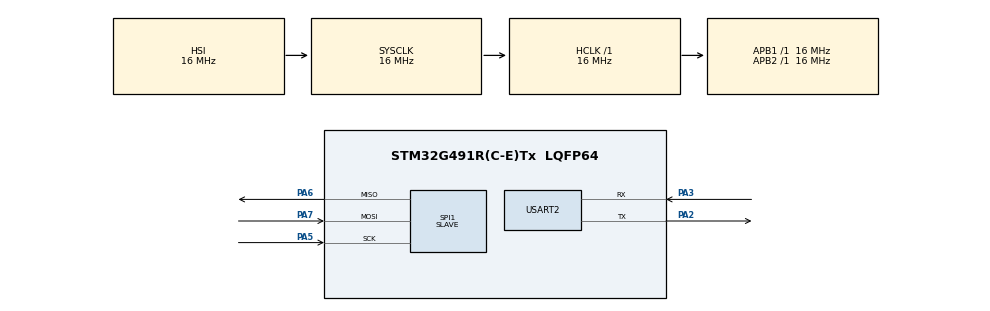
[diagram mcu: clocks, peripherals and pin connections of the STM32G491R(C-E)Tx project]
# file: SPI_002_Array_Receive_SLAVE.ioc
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Mcu.Family=STM32G4
Mcu.Name=STM32G491R(C-E)Tx
Mcu.Package=LQFP64
NVIC.PriorityGroup=NVIC_PRIORITYGROUP_4
NVIC.SPI1_IRQn=true\:0\:0\:false\:false\:true\:true\:true\:true
PA2.Mode=Asynchronous
PA2.Signal=USART2_TX
PA3.Mode=Asynchronous
PA3.Signal=USART2_RX
PA5.Mode=Full_Duplex_Slave
PA5.Signal=SPI1_SCK
PA6.Mode=Full_Duplex_Slave
PA6.Signal=SPI1_MISO
PA7.Mode=Full_Duplex_Slave
PA7.Signal=SPI1_MOSI
ProjectManager.HeapSize=0x200
ProjectManager.StackSize=0x400
ProjectManager.TargetToolchain=STM32CubeIDE
RCC.ADC12Freq_Value=16000000
RCC.ADC345Freq_Value=16000000
RCC.AHBFreq_Value=16000000
RCC.APB1Freq_Value=16000000
RCC.APB1TimFreq_Value=16000000
RCC.APB2Freq_Value=16000000
RCC.APB2TimFreq_Value=16000000
RCC.CortexFreq_Value=16000000
RCC.EXTERNAL_CLOCK_VALUE=12288000
RCC.HCLKFreq_Value=16000000
RCC.HSE_VALUE=24000000
RCC.HSI48_VALUE=48000000
RCC.HSI_VALUE=16000000
RCC.LSE_VALUE=32768
RCC.PLLM=RCC_PLLM_DIV4
RCC.PLLN=85
RCC.RTCClockSelection=RCC_RTCCLKSOURCE_LSE
RCC.SYSCLKFreq_VALUE=16000000
RCC.USBFreq_Value=48000000
RCC.VCOOutputFreq_Value=340000000
SPI1.DataSize=SPI_DATASIZE_8BIT
SPI1.Direction=SPI_DIRECTION_2LINES
SPI1.Mode=SPI_MODE_SLAVE
SPI1.VirtualType=VM_SLAVE
USART2.VirtualMode-Asynchronous=VM_ASYNC
VP_SYS_VS_DBSignals.Mode=DisableDeadBatterySignals
board=NUCLEO-G491RE

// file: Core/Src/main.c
/* USER CODE BEGIN Header */
/**
  ******************************************************************************
  * @file           : main.c
  * @brief          : Main program body
  ******************************************************************************
  * @attention
  *
  * Copyright (c) 2024 STMicroelectronics.
  * All rights reserved.
  *
  * This software is licensed under terms that can be found in the LICENSE file
  * in the root directory of this software component.
  * If no LICENSE file comes with this software, it is provided AS-IS.
  *
  ******************************************************************************
  */
/* USER CODE END Header */
#include "main.h"

/* USER CODE BEGIN Includes */
#include "stdio.h"
/* USER CODE END Includes */

SPI_HandleTypeDef hspi1;

UART_HandleTypeDef huart2;

void SystemClock_Config(void);
static void MX_GPIO_Init(void);
static void MX_SPI1_Init(void);
static void MX_USART2_UART_Init(void);

/* USER CODE BEGIN 0 */
/* Variables */
uint8_t spi_tx_buffer[] = {11, 12, 13, 14, 15, 16, 17, 18, 19, 20};  // Array to send from 11 to 20
uint8_t spi_rx_buffer[20]= {0};                 // Buffer to receive SPI data
volatile uint8_t spi_done = 0;             // Flag for SPI completion

void HAL_SPI_TxRxCpltCallback(SPI_HandleTypeDef *hspi)
{
    spi_done = 1; // SPI communication done
}

/* Function to redirect printf to UART */
int __io_putchar(int ch)
{
    HAL_UART_Transmit(&huart2, (uint8_t *)&ch, 1, HAL_MAX_DELAY); // Send one character
    return ch;
}
/* USER CODE END 0 */

int main(void)
{

  /* MCU Configuration--------------------------------------------------------*/

  /* Reset of all peripherals, Initializes the Flash interface and the Systick. */
  HAL_Init();

  /* Configure the system clock */
  SystemClock_Config();

  /* Initialize all configured peripherals */
  MX_GPIO_Init();
  MX_SPI1_Init();
  MX_USART2_UART_Init();

  /* Infinite loop */
  /* USER CODE BEGIN WHILE */
  while (1)
  {

	  /* SPI Communication */
	          spi_done = 0;
	          HAL_SPI_TransmitReceive_IT(&hspi1, spi_tx_buffer, spi_rx_buffer, sizeof(spi_tx_buffer));
	          while (!spi_done); // Wait for SPI to complete

	          /* Print SPI received data using printf */
	          printf("SPI RX: ");
	          for (int i = 0; i < sizeof(spi_rx_buffer); i++)
	          {
	              printf("%d ", spi_rx_buffer[i]);
	          }
	          printf("\r\n");

//	          /* Print the values 11 to 20 sent via SPI */
//	          printf("Sent values: ");
//	          for (int i = 0; i < sizeof(spi_tx_buffer); i++)
//	          {
//	              printf("%d ", spi_tx_buffer[i]);
//	          }
//	          printf("\r\n");

	          HAL_Delay(1000); // Delay for stability
    /* USER CODE END WHILE */

  }
}

void SystemClock_Config(void)
{
  RCC_OscInitTypeDef RCC_OscInitStruct = {0};
  RCC_ClkInitTypeDef RCC_ClkInitStruct = {0};

  /** Configure the main internal regulator output voltage
  */
  HAL_PWREx_ControlVoltageScaling(PWR_REGULATOR_VOLTAGE_SCALE1);

  /** Initializes the RCC Oscillators according to the specified parameters
  * in the RCC_OscInitTypeDef structure.
  */
  RCC_OscInitStruct.OscillatorType = RCC_OSCILLATORTYPE_HSI;
  RCC_OscInitStruct.HSIState = RCC_HSI_ON;
  RCC_OscInitStruct.HSICalibrationValue = RCC_HSICALIBRATION_DEFAULT;
  RCC_OscInitStruct.PLL.PLLState = RCC_PLL_NONE;
  if (HAL_RCC_OscConfig(&RCC_OscInitStruct) != HAL_OK)
  {
    Error_Handler();
  }

  /** Initializes the CPU, AHB and APB buses clocks
  */
  RCC_ClkInitStruct.ClockType = RCC_CLOCKTYPE_HCLK|RCC_CLOCKTYPE_SYSCLK
                              |RCC_CLOCKTYPE_PCLK1|RCC_CLOCKTYPE_PCLK2;
  RCC_ClkInitStruct.SYSCLKSource = RCC_SYSCLKSOURCE_HSI;
  RCC_ClkInitStruct.AHBCLKDivider = RCC_SYSCLK_DIV1;
  RCC_ClkInitStruct.APB1CLKDivider = RCC_HCLK_DIV1;
  RCC_ClkInitStruct.APB2CLKDivider = RCC_HCLK_DIV1;

  if (HAL_RCC_ClockConfig(&RCC_ClkInitStruct, FLASH_LATENCY_0) != HAL_OK)
  {
    Error_Handler();
  }
}

static void MX_SPI1_Init(void)
{

  /* SPI1 parameter configuration*/
  hspi1.Instance = SPI1;
  hspi1.Init.Mode = SPI_MODE_SLAVE;
  hspi1.Init.Direction = SPI_DIRECTION_2LINES;
  hspi1.Init.DataSize = SPI_DATASIZE_8BIT;
  hspi1.Init.CLKPolarity = SPI_POLARITY_LOW;
  hspi1.Init.CLKPhase = SPI_PHASE_1EDGE;
  hspi1.Init.NSS = SPI_NSS_SOFT;
  hspi1.Init.FirstBit = SPI_FIRSTBIT_MSB;
  hspi1.Init.TIMode = SPI_TIMODE_DISABLE;
  hspi1.Init.CRCCalculation = SPI_CRCCALCULATION_DISABLE;
  hspi1.Init.CRCPolynomial = 7;
  hspi1.Init.CRCLength = SPI_CRC_LENGTH_DATASIZE;
  hspi1.Init.NSSPMode = SPI_NSS_PULSE_DISABLE;
  if (HAL_SPI_Init(&hspi1) != HAL_OK)
  {
    Error_Handler();
  }

}

static void MX_USART2_UART_Init(void)
{

  huart2.Instance = USART2;
  huart2.Init.BaudRate = 115200;
  huart2.Init.WordLength = UART_WORDLENGTH_8B;
  huart2.Init.StopBits = UART_STOPBITS_1;
  huart2.Init.Parity = UART_PARITY_NONE;
  huart2.Init.Mode = UART_MODE_TX_RX;
  huart2.Init.HwFlowCtl = UART_HWCONTROL_NONE;
  huart2.Init.OverSampling = UART_OVERSAMPLING_16;
  huart2.Init.OneBitSampling = UART_ONE_BIT_SAMPLE_DISABLE;
  huart2.Init.ClockPrescaler = UART_PRESCALER_DIV1;
  huart2.AdvancedInit.AdvFeatureInit = UART_ADVFEATURE_NO_INIT;
  if (HAL_UART_Init(&huart2) != HAL_OK)
  {
    Error_Handler();
  }
  if (HAL_UARTEx_SetTxFifoThreshold(&huart2, UART_TXFIFO_THRESHOLD_1_8) != HAL_OK)
  {
    Error_Handler();
  }
  if (HAL_UARTEx_SetRxFifoThreshold(&huart2, UART_RXFIFO_THRESHOLD_1_8) != HAL_OK)
  {
    Error_Handler();
  }
  if (HAL_UARTEx_DisableFifoMode(&huart2) != HAL_OK)
  {
    Error_Handler();
  }

}

static void MX_GPIO_Init(void)
{

  /* GPIO Ports Clock Enable */
  __HAL_RCC_GPIOA_CLK_ENABLE();

}

void Error_Handler(void)
{
  __disable_irq();
  while (1)
  {
  }
}
